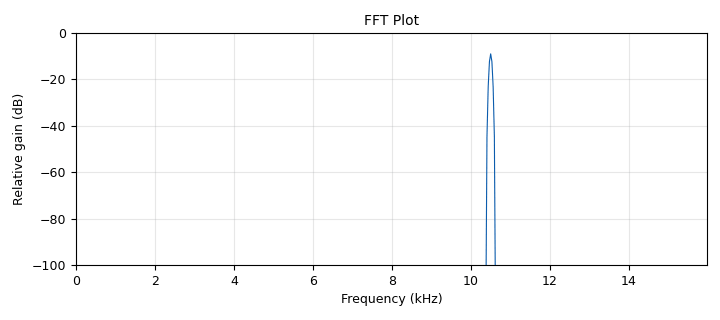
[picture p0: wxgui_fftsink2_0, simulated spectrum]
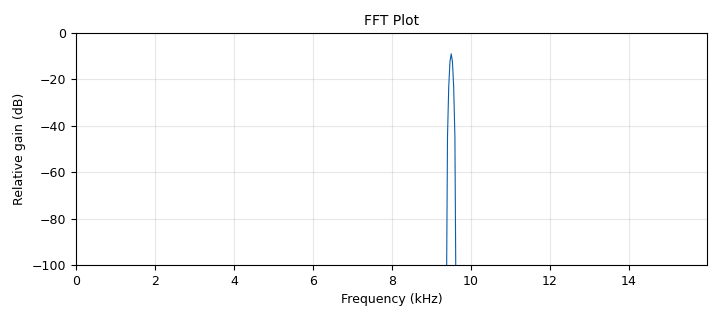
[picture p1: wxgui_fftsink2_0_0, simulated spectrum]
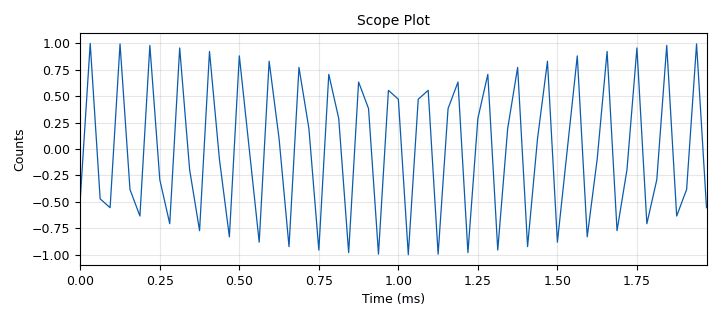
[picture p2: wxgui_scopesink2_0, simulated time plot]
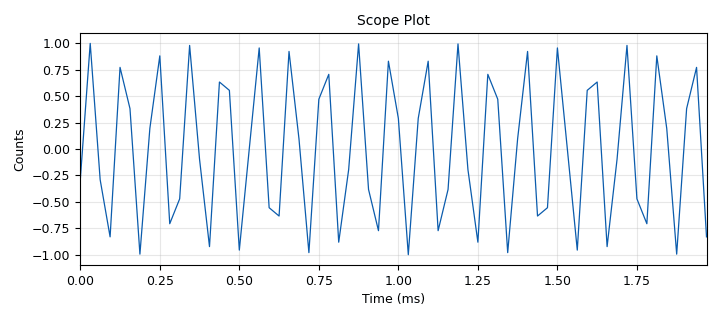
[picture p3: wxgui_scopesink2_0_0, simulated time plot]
<?xml version='1.0' encoding='utf-8'?>
<?grc format='1' created='3.7.10'?>
<flow_graph>
<block>
<key>options</key>
<param><key>id</key><value>top_block</value></param>
<param><key>generate_options</key><value>wx_gui</value></param>
</block>
<block>
<key>variable</key>
<param><key>id</key><value>samp_rate</value></param>
<param><key>value</key><value>32000</value></param>
</block>
<block>
<key>analog_sig_source_x</key>
<param><key>id</key><value>analog_sig_source_x_0</value></param>
<param><key>amp</key><value>1</value></param>
<param><key>freq</key><value>500</value></param>
<param><key>offset</key><value>0</value></param>
<param><key>type</key><value>float</value></param>
<param><key>samp_rate</key><value>samp_rate</value></param>
<param><key>waveform</key><value>analog.GR_COS_WAVE</value></param>
</block>
<block>
<key>analog_sig_source_x</key>
<param><key>id</key><value>analog_sig_source_x_0_0</value></param>
<param><key>amp</key><value>1</value></param>
<param><key>freq</key><value>500</value></param>
<param><key>offset</key><value>0</value></param>
<param><key>type</key><value>float</value></param>
<param><key>samp_rate</key><value>samp_rate</value></param>
<param><key>waveform</key><value>analog.GR_SIN_WAVE</value></param>
</block>
<block>
<key>analog_sig_source_x</key>
<param><key>id</key><value>analog_sig_source_x_0_2</value></param>
<param><key>amp</key><value>1</value></param>
<param><key>freq</key><value>10000</value></param>
<param><key>offset</key><value>0</value></param>
<param><key>type</key><value>float</value></param>
<param><key>samp_rate</key><value>samp_rate</value></param>
<param><key>waveform</key><value>analog.GR_COS_WAVE</value></param>
</block>
<block>
<key>analog_sig_source_x</key>
<param><key>id</key><value>analog_sig_source_x_0_2_0</value></param>
<param><key>amp</key><value>1</value></param>
<param><key>freq</key><value>10000</value></param>
<param><key>offset</key><value>0</value></param>
<param><key>type</key><value>float</value></param>
<param><key>samp_rate</key><value>samp_rate</value></param>
<param><key>waveform</key><value>analog.GR_SIN_WAVE</value></param>
</block>
<block>
<key>blocks_add_xx</key>
<param><key>id</key><value>blocks_add_xx_0</value></param>
<param><key>type</key><value>float</value></param>
</block>
<block>
<key>blocks_multiply_xx</key>
<param><key>id</key><value>blocks_multiply_xx_0</value></param>
<param><key>type</key><value>float</value></param>
</block>
<block>
<key>blocks_multiply_xx</key>
<param><key>id</key><value>blocks_multiply_xx_0_0</value></param>
<param><key>type</key><value>float</value></param>
</block>
<block>
<key>blocks_sub_xx</key>
<param><key>id</key><value>blocks_sub_xx_0</value></param>
<param><key>type</key><value>float</value></param>
</block>
<block>
<key>blocks_throttle</key>
<param><key>id</key><value>blocks_throttle_0</value></param>
<param><key>samples_per_second</key><value>samp_rate</value></param>
<param><key>type</key><value>float</value></param>
</block>
<block>
<key>blocks_throttle</key>
<param><key>id</key><value>blocks_throttle_0_0</value></param>
<param><key>samples_per_second</key><value>samp_rate</value></param>
<param><key>type</key><value>float</value></param>
</block>
<block>
<key>notebook</key>
<param><key>id</key><value>mynotebook_add</value></param>
<param><key>labels</key><value>['ScopeSink', 'FFT', ]</value></param>
<param><key>style</key><value>wx.NB_TOP</value></param>
</block>
<block>
<key>notebook</key>
<param><key>id</key><value>mynotebook_sub</value></param>
<param><key>labels</key><value>['Scope_sink', 'fft']</value></param>
<param><key>style</key><value>wx.NB_TOP</value></param>
</block>
<block>
<key>wxgui_fftsink2</key>
<param><key>id</key><value>wxgui_fftsink2_0</value></param>
<param><key>avg_alpha</key><value>0</value></param>
<param><key>average</key><value>False</value></param>
<param><key>baseband_freq</key><value>0</value></param>
<param><key>fft_size</key><value>1024</value></param>
<param><key>freqvar</key><value>None</value></param>
<param><key>notebook</key><value>mynotebook_sub,1</value></param>
<param><key>peak_hold</key><value>False</value></param>
<param><key>ref_level</key><value>0</value></param>
<param><key>ref_scale</key><value>2.0</value></param>
<param><key>fft_rate</key><value>15</value></param>
<param><key>samp_rate</key><value>samp_rate</value></param>
<param><key>title</key><value>FFT Plot</value></param>
<param><key>type</key><value>float</value></param>
<param><key>win</key><value>None</value></param>
<param><key>y_divs</key><value>10</value></param>
<param><key>y_per_div</key><value>10</value></param>
</block>
<block>
<key>wxgui_fftsink2</key>
<param><key>id</key><value>wxgui_fftsink2_0_0</value></param>
<param><key>avg_alpha</key><value>0</value></param>
<param><key>average</key><value>False</value></param>
<param><key>baseband_freq</key><value>0</value></param>
<param><key>fft_size</key><value>1024</value></param>
<param><key>freqvar</key><value>None</value></param>
<param><key>notebook</key><value>mynotebook_add,1</value></param>
<param><key>peak_hold</key><value>False</value></param>
<param><key>ref_level</key><value>0</value></param>
<param><key>ref_scale</key><value>2.0</value></param>
<param><key>fft_rate</key><value>15</value></param>
<param><key>samp_rate</key><value>samp_rate</value></param>
<param><key>title</key><value>FFT Plot</value></param>
<param><key>type</key><value>float</value></param>
<param><key>win</key><value>None</value></param>
<param><key>y_divs</key><value>10</value></param>
<param><key>y_per_div</key><value>10</value></param>
</block>
<block>
<key>wxgui_scopesink2</key>
<param><key>id</key><value>wxgui_scopesink2_0</value></param>
<param><key>ac_couple</key><value>False</value></param>
<param><key>notebook</key><value>mynotebook_sub,0</value></param>
<param><key>num_inputs</key><value>1</value></param>
<param><key>samp_rate</key><value>samp_rate</value></param>
<param><key>t_scale</key><value>0</value></param>
<param><key>title</key><value>Scope Plot</value></param>
<param><key>trig_mode</key><value>wxgui.TRIG_MODE_NORM</value></param>
<param><key>type</key><value>float</value></param>
<param><key>v_offset</key><value>0</value></param>
<param><key>v_scale</key><value>0</value></param>
<param><key>xy_mode</key><value>False</value></param>
<param><key>y_axis_label</key><value>Counts</value></param>
</block>
<block>
<key>wxgui_scopesink2</key>
<param><key>id</key><value>wxgui_scopesink2_0_0</value></param>
<param><key>ac_couple</key><value>False</value></param>
<param><key>notebook</key><value>mynotebook_add,0</value></param>
<param><key>num_inputs</key><value>1</value></param>
<param><key>samp_rate</key><value>samp_rate</value></param>
<param><key>t_scale</key><value>0</value></param>
<param><key>title</key><value>Scope Plot</value></param>
<param><key>trig_mode</key><value>wxgui.TRIG_MODE_NORM</value></param>
<param><key>type</key><value>float</value></param>
<param><key>v_offset</key><value>0</value></param>
<param><key>v_scale</key><value>0</value></param>
<param><key>xy_mode</key><value>False</value></param>
<param><key>y_axis_label</key><value>Counts</value></param>
</block>
<connection><source_block_id>analog_sig_source_x_0</source_block_id><sink_block_id>blocks_multiply_xx_0</sink_block_id><source_key>0</source_key><sink_key>1</sink_key></connection>
<connection><source_block_id>analog_sig_source_x_0_0</source_block_id><sink_block_id>blocks_multiply_xx_0_0</sink_block_id><source_key>0</source_key><sink_key>1</sink_key></connection>
<connection><source_block_id>analog_sig_source_x_0_2</source_block_id><sink_block_id>blocks_multiply_xx_0</sink_block_id><source_key>0</source_key><sink_key>0</sink_key></connection>
<connection><source_block_id>analog_sig_source_x_0_2_0</source_block_id><sink_block_id>blocks_multiply_xx_0_0</sink_block_id><source_key>0</source_key><sink_key>0</sink_key></connection>
<connection><source_block_id>blocks_add_xx_0</source_block_id><sink_block_id>blocks_throttle_0_0</sink_block_id><source_key>0</source_key><sink_key>0</sink_key></connection>
<connection><source_block_id>blocks_multiply_xx_0</source_block_id><sink_block_id>blocks_add_xx_0</sink_block_id><source_key>0</source_key><sink_key>0</sink_key></connection>
<connection><source_block_id>blocks_multiply_xx_0</source_block_id><sink_block_id>blocks_sub_xx_0</sink_block_id><source_key>0</source_key><sink_key>0</sink_key></connection>
<connection><source_block_id>blocks_multiply_xx_0_0</source_block_id><sink_block_id>blocks_add_xx_0</sink_block_id><source_key>0</source_key><sink_key>1</sink_key></connection>
<connection><source_block_id>blocks_multiply_xx_0_0</source_block_id><sink_block_id>blocks_sub_xx_0</sink_block_id><source_key>0</source_key><sink_key>1</sink_key></connection>
<connection><source_block_id>blocks_sub_xx_0</source_block_id><sink_block_id>blocks_throttle_0</sink_block_id><source_key>0</source_key><sink_key>0</sink_key></connection>
<connection><source_block_id>blocks_throttle_0</source_block_id><sink_block_id>wxgui_fftsink2_0</sink_block_id><source_key>0</source_key><sink_key>0</sink_key></connection>
<connection><source_block_id>blocks_throttle_0</source_block_id><sink_block_id>wxgui_scopesink2_0</sink_block_id><source_key>0</source_key><sink_key>0</sink_key></connection>
<connection><source_block_id>blocks_throttle_0_0</source_block_id><sink_block_id>wxgui_fftsink2_0_0</sink_block_id><source_key>0</source_key><sink_key>0</sink_key></connection>
<connection><source_block_id>blocks_throttle_0_0</source_block_id><sink_block_id>wxgui_scopesink2_0_0</sink_block_id><source_key>0</source_key><sink_key>0</sink_key></connection>
</flow_graph>
